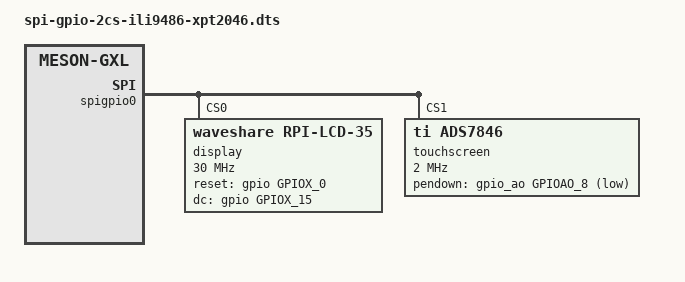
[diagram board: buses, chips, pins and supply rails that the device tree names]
// SPDX-License-Identifier: (GPL-2.0+ OR MIT)
/*
 * Copyright (c) 2022 Da Xue
 * Author: Da Xue <da@libre.computer>
 */

/dts-v1/;
/plugin/;

#include <dt-bindings/gpio/gpio.h>
#include <dt-bindings/gpio/meson-gxl-gpio.h>
#include <dt-bindings/interrupt-controller/irq.h>
#include <dt-bindings/interrupt-controller/amlogic,meson-gxl-gpio-intc.h>

/ {
	compatible = "libretech,cc", "amlogic,s905x", "amlogic,meson-gxl";

	fragment@0 {
		target = <&cec_AO>;
		
		__overlay__ {
			status = "disabled";
		};
	};
	
	fragment@1 {
		target = <&spigpio0>;
		
		__overlay__ {

			display@0 {
				compatible = "waveshare,rpi-lcd-35", "ilitek,ili9486";
				reg = <0>;
				spi-max-frequency = <30000000>;
				reset-gpios = <&gpio GPIOX_0 GPIO_ACTIVE_HIGH>;
				dc-gpios = <&gpio GPIOX_15 GPIO_ACTIVE_HIGH>;
				status = "okay";
			};

			touchscreen@1 {
				compatible = "ti,ads7846";
				pinctrl-names = "default";
				pinctrl-0 = <&ao_cec_pins>;
				reg = <1>;
				spi-max-frequency = <2000000>;
				interrupt-parent = <&gpio_intc>;
				interrupts = <IRQID_GPIOAO_8 IRQ_TYPE_EDGE_FALLING>;
				pendown-gpio = <&gpio_ao GPIOAO_8 GPIO_ACTIVE_LOW>;
				wakeup-source;
				status = "okay";
			};
		};
	};
};
